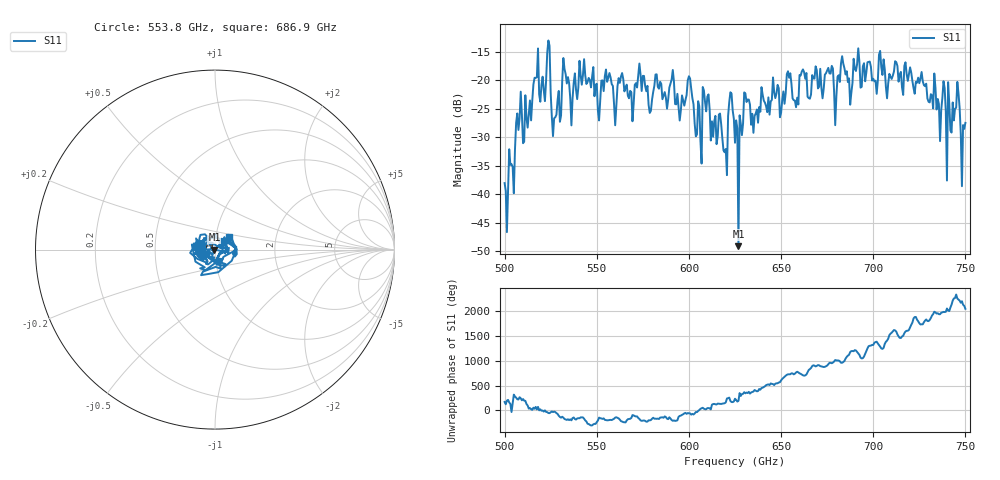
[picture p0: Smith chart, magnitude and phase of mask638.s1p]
!Created with skrf (http://scikit-rf.org).
# GHz S MA R 50.0
!freq magS11 angS11
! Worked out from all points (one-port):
!   401 points, 500 GHz to 750 GHz, reference 50 ohm
!   lowest |S11| = -49.1 dB at 626.9 GHz (marker M1), VSWR 1.01, Z = 49.7 - j0.0701 ohm
!   |S11| at or under -10 dB: start of sweep to end of sweep
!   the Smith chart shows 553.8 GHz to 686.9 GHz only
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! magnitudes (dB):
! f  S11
! 500 GHz  -38.1
! 507.5 GHz  -28.7
! 511.2 GHz  -22.7
! 516.9 GHz  -19.6
! 520.6 GHz  -19.4
! 523.8 GHz  -13.0
! 526.9 GHz  -26.7
! 531.2 GHz  -20.2
! 562.5 GHz  -20.5
! 579.4 GHz  -25.4
! 590.6 GHz  -19.9
! 593.8 GHz  -22.4
! 600.6 GHz  -19.7
! 605.6 GHz  -24.6
! 608.8 GHz  -23.9
! 619.4 GHz  -32.7
! 622.5 GHz  -22.1
! 625 GHz  -31.0
! 626.9 GHz  -49.1
! 631.2 GHz  -23.8
! 635 GHz  -29.2
! 656.2 GHz  -23.2
! 680 GHz  -22.8
! 683.8 GHz  -17.1
! 687.5 GHz  -24.3
! 690.6 GHz  -18.4
! 718.8 GHz  -20.1
! 750 GHz  -27.5
